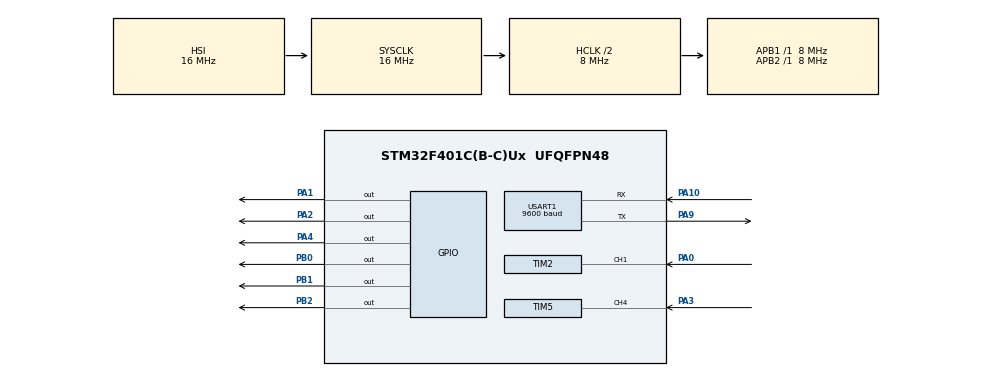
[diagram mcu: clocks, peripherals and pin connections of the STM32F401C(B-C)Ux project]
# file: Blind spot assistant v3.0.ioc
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FREERTOS.Tasks01=trigSonic1_Task,0,128,triggerUltrasonic_1_Handeler,Default,NULL,Dynamic,NULL,NULL;trigSonic2_Task,-3,128,triggerUltrasonic_2_Handeler,Default,NULL,Dynamic,NULL,NULL;LEDS_Task,-3,128,indecateOnLED_Handeler,Default,NULL,Dynamic,NULL,NULL
Mcu.Family=STM32F4
Mcu.Name=STM32F401C(B-C)Ux
Mcu.Package=UFQFPN48
NVIC.PriorityGroup=NVIC_PRIORITYGROUP_4
NVIC.TIM1_UP_TIM10_IRQn=true\:15\:0\:false\:false\:true\:false\:false\:true\:true
NVIC.TIM2_IRQn=true\:5\:0\:false\:false\:true\:true\:true\:true\:true
NVIC.TIM5_IRQn=true\:5\:0\:false\:false\:true\:true\:true\:true\:true
NVIC.TimeBase=TIM1_UP_TIM10_IRQn
NVIC.TimeBaseIP=TIM1
PA0-WKUP.Signal=S_TIM2_CH1_ETR
PA1.Signal=GPIO_Output
PA10.Mode=Asynchronous
PA10.Signal=USART1_RX
PA2.Signal=GPIO_Output
PA3.Signal=S_TIM5_CH4
PA4.Signal=GPIO_Output
PA9.Mode=Asynchronous
PA9.Signal=USART1_TX
PB0.Signal=GPIO_Output
PB1.Signal=GPIO_Output
PB2.Signal=GPIO_Output
ProjectManager.HeapSize=0x200
ProjectManager.StackSize=0x400
ProjectManager.TargetToolchain=STM32CubeIDE
RCC.AHBCLKDivider=RCC_SYSCLK_DIV2
RCC.AHBFreq_Value=8000000
RCC.APB1Freq_Value=8000000
RCC.APB1TimFreq_Value=8000000
RCC.APB2Freq_Value=8000000
RCC.APB2TimFreq_Value=8000000
RCC.CortexFreq_Value=8000000
RCC.HCLKFreq_Value=8000000
RCC.HSE_VALUE=25000000
RCC.HSI_VALUE=16000000
RCC.LSE_VALUE=32768
RCC.SYSCLKFreq_VALUE=16000000
RCC.VCOOutputFreq_Value=192000000
SH.S_TIM2_CH1_ETR.0=TIM2_CH1,Input_Capture1_from_TI1
SH.S_TIM5_CH4.0=TIM5_CH4,Input_Capture4_from_TI4
TIM2.Channel-Input_Capture1_from_TI1=TIM_CHANNEL_1
TIM2.ICPolarity_CH1=TIM_INPUTCHANNELPOLARITY_BOTHEDGE
TIM2.Period=65535
TIM2.Prescaler=15
TIM5.Channel-Input_Capture4_from_TI4=TIM_CHANNEL_4
TIM5.ICPolarity_CH4=TIM_INPUTCHANNELPOLARITY_BOTHEDGE
TIM5.Period=65535
TIM5.Prescaler=15
USART1.BaudRate=9600
USART1.VirtualMode=VM_ASYNC
VP_FREERTOS_VS_CMSIS_V1.Mode=CMSIS_V1
VP_SYS_VS_tim1.Mode=TIM1
VP_TIM2_VS_ClockSourceINT.Mode=Internal
VP_TIM5_VS_ClockSourceINT.Mode=Internal
board=custom

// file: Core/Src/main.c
/* USER CODE BEGIN Header */
/**
 ******************************************************************************
 * @file           : main.c
 * @brief          : Main program body
 ******************************************************************************
 * @attention
 *
 * Copyright (c) 2023 STMicroelectronics.
 * All rights reserved.
 *
 * This software is licensed under terms that can be found in the LICENSE file
 * in the root directory of this software component.
 * If no LICENSE file comes with this software, it is provided AS-IS.
 *
 ******************************************************************************
 */
/* USER CODE END Header */
#include "main.h"
#include "cmsis_os.h"

/* USER CODE BEGIN PM */
#define ULTAR1_FAR			0
#define ULTAR1_NEAR			1
#define ULTAR2_FAR			2
#define ULTAR2_NEAR			3

#define TRIG_PIN_U1      			GPIO_PIN_1
#define TRIG_PIN_U2      			GPIO_PIN_4
#define TRIG_PORT_U1     			GPIOA
#define TRIG_PORT_U2     			GPIOA

#define LED_PIN_U1       			GPIO_PIN_2
#define LED_PIN_U2       			GPIO_PIN_0

#define LED_PORT_U1      			GPIOA
#define LED_PORT_U2      			GPIOB

#define NEAR_OBJECT_THRESHOLD   	20

#define DelayTrigToRead    			50
#define DelayToRepeatTrig			120
#define	DelayBetweenUltraSonics		60

#define	ULTAR_IS_OK					51
#define	ULTAR_IS_NOT_OK				56
uint8_t bsa_diagnose = ULTAR_IS_OK;
/* USER CODE END PM */

TIM_HandleTypeDef htim2;
TIM_HandleTypeDef htim5;

UART_HandleTypeDef huart1;

osThreadId trigSonic1_TaskHandle;
osThreadId trigSonic2_TaskHandle;
osThreadId LEDS_TaskHandle;

void SystemClock_Config(void);
static void MX_GPIO_Init(void);
static void MX_TIM2_Init(void);
static void MX_TIM5_Init(void);
static void MX_USART1_UART_Init(void);
void triggerUltrasonic_1_Handeler(void const * argument);
void triggerUltrasonic_2_Handeler(void const * argument);
void indecateOnLED_Handeler(void const * argument);

/* USER CODE BEGIN PFP */
void EnableUltrasonic_1_TimerInterrutp (void);
void EnableUltrasonic_2_TimerInterrutp (void);

/* USER CODE END PFP */

/* USER CODE BEGIN 0 */

volatile uint16_t distance_u1=0;
volatile uint16_t distance_u2=0;

volatile int flag_timer2=0,t1_timer2,t2_timer2,time_timer2;
volatile int flag_timer5=0,t1_timer5,t2_timer5,time_timer5;

//ISR for timer ICU
void HAL_TIM_IC_CaptureCallback(TIM_HandleTypeDef *htim)
{
	// checking on timer ICU interrupt source if TIM2 or TIM 5
	if (htim->Instance == TIM2)
	{
		// Check if the callback is triggered by the correct timer (TIMx)
		if (htim->Channel == HAL_TIM_ACTIVE_CHANNEL_1)
		{
			if (flag_timer2==0)
			{
				t1_timer2=HAL_TIM_ReadCapturedValue(htim, TIM_CHANNEL_1);

				flag_timer2++;
			}
			else if(flag_timer2==1)
			{
				t2_timer2=HAL_TIM_ReadCapturedValue(htim, TIM_CHANNEL_1);
				if(t2_timer2>t1_timer2)
				{
					time_timer2=t2_timer2-t1_timer2;
				}
				else if(t1_timer2>t2_timer2)
				{
					time_timer2 = ((0xffff-t1_timer2)+t2_timer2)+1;
				}
				distance_u1=(((int)time_timer2*340*100)/((int)2*1000000))+1;

				// Ensure that the distance is within the range (0 to 50 cm)
				if (distance_u1 > 500)
				{
					distance_u1 = 500;
				}
				else if (distance_u1<0)
				{
					distance_u1=0;
				}
				flag_timer2=0;
				HAL_TIM_IC_Stop_IT(&htim2, TIM_CHANNEL_1); //disable timer 2
				HAL_TIM_IC_Start_IT(&htim5, TIM_CHANNEL_4); // enable timer5

			}

		}
	}

	if (htim->Instance == TIM5)
	{
		// Check if the callback is triggered by the correct timer (TIMx)
		if (htim->Channel == HAL_TIM_ACTIVE_CHANNEL_4)
		{
			if (flag_timer5==0)
			{
				t1_timer5=HAL_TIM_ReadCapturedValue(htim, TIM_CHANNEL_4);

				flag_timer5++;
			}
			else if(flag_timer5==1)
			{
				t2_timer5=HAL_TIM_ReadCapturedValue(htim, TIM_CHANNEL_4);
				if(t2_timer5>t1_timer5)
				{
					time_timer5=t2_timer5-t1_timer5;
				}
				else if(t1_timer5>t2_timer5)
				{
					time_timer5 = ((0xffff-t1_timer5)+t2_timer5)+1;
				}
				distance_u2=(((int)time_timer5*340*100)/((int)2*1000000))+1;
				//Ensure distance is within the desired range (0 to 50 cm)
				if (distance_u2 > 500)
				{
					distance_u2 = 500;
				}
				else if (distance_u2<0)
				{
					distance_u2=0;
				}
				flag_timer5=0;
				HAL_TIM_IC_Stop_IT(&htim5, TIM_CHANNEL_4); //disable timer 2
				HAL_TIM_IC_Start_IT(&htim2, TIM_CHANNEL_1); // enable timer5
			}
		}
	}
}

/* USER CODE END 0 */

int main(void)
{

	/* MCU Configuration--------------------------------------------------------*/

	/* Reset of all peripherals, Initializes the Flash interface and the Systick. */
	HAL_Init();

	/* Configure the system clock */
	SystemClock_Config();

	/* Initialize all configured peripherals */
	MX_GPIO_Init();
	MX_TIM2_Init();
	MX_TIM5_Init();
	MX_USART1_UART_Init();
	/* USER CODE BEGIN 2 */
	EnableUltrasonic_1_TimerInterrutp();
	//EnableUltrasonic_2_TimerInterrutp();
	/* USER CODE END 2 */

	/* Create the thread(s) */
	/* definition and creation of trigSonic1_Task */
	osThreadDef(trigSonic1_Task, triggerUltrasonic_1_Handeler, osPriorityNormal, 0, 128);
	trigSonic1_TaskHandle = osThreadCreate(osThread(trigSonic1_Task), NULL);

	/* definition and creation of trigSonic2_Task */
	osThreadDef(trigSonic2_Task, triggerUltrasonic_2_Handeler, osPriorityNormal, 0, 128);
	trigSonic2_TaskHandle = osThreadCreate(osThread(trigSonic2_Task), NULL);

	/* definition and creation of LEDS_Task */
	osThreadDef(LEDS_Task, indecateOnLED_Handeler, osPriorityNormal, 0, 128);
	LEDS_TaskHandle = osThreadCreate(osThread(LEDS_Task), NULL);

	/* Start scheduler */
	osKernelStart();

	/* We should never get here as control is now taken by the scheduler */
	/* Infinite loop */
	while (1)
	{

	}
}

void SystemClock_Config(void)
{
	RCC_OscInitTypeDef RCC_OscInitStruct = {0};
	RCC_ClkInitTypeDef RCC_ClkInitStruct = {0};

	/** Configure the main internal regulator output voltage
	 */
	__HAL_RCC_PWR_CLK_ENABLE();
	__HAL_PWR_VOLTAGESCALING_CONFIG(PWR_REGULATOR_VOLTAGE_SCALE2);

	/** Initializes the RCC Oscillators according to the specified parameters
	 * in the RCC_OscInitTypeDef structure.
	 */
	RCC_OscInitStruct.OscillatorType = RCC_OSCILLATORTYPE_HSI|RCC_OSCILLATORTYPE_LSI;
	RCC_OscInitStruct.HSIState = RCC_HSI_ON;
	RCC_OscInitStruct.HSICalibrationValue = RCC_HSICALIBRATION_DEFAULT;
	RCC_OscInitStruct.LSIState = RCC_LSI_ON;
	RCC_OscInitStruct.PLL.PLLState = RCC_PLL_NONE;
	if (HAL_RCC_OscConfig(&RCC_OscInitStruct) != HAL_OK)
	{
		Error_Handler();
	}

	/** Initializes the CPU, AHB and APB buses clocks
	 */
	RCC_ClkInitStruct.ClockType = RCC_CLOCKTYPE_HCLK|RCC_CLOCKTYPE_SYSCLK
			|RCC_CLOCKTYPE_PCLK1|RCC_CLOCKTYPE_PCLK2;
	RCC_ClkInitStruct.SYSCLKSource = RCC_SYSCLKSOURCE_HSI;
	RCC_ClkInitStruct.AHBCLKDivider = RCC_SYSCLK_DIV2;
	RCC_ClkInitStruct.APB1CLKDivider = RCC_HCLK_DIV1;
	RCC_ClkInitStruct.APB2CLKDivider = RCC_HCLK_DIV1;

	if (HAL_RCC_ClockConfig(&RCC_ClkInitStruct, FLASH_LATENCY_0) != HAL_OK)
	{
		Error_Handler();
	}
}

static void MX_TIM2_Init(void)
{

	TIM_ClockConfigTypeDef sClockSourceConfig = {0};
	TIM_MasterConfigTypeDef sMasterConfig = {0};
	TIM_IC_InitTypeDef sConfigIC = {0};

	htim2.Instance = TIM2;
	htim2.Init.Prescaler = 15;
	htim2.Init.CounterMode = TIM_COUNTERMODE_UP;
	htim2.Init.Period = 65535;
	htim2.Init.ClockDivision = TIM_CLOCKDIVISION_DIV1;
	htim2.Init.AutoReloadPreload = TIM_AUTORELOAD_PRELOAD_DISABLE;
	if (HAL_TIM_Base_Init(&htim2) != HAL_OK)
	{
		Error_Handler();
	}
	sClockSourceConfig.ClockSource = TIM_CLOCKSOURCE_INTERNAL;
	if (HAL_TIM_ConfigClockSource(&htim2, &sClockSourceConfig) != HAL_OK)
	{
		Error_Handler();
	}
	if (HAL_TIM_IC_Init(&htim2) != HAL_OK)
	{
		Error_Handler();
	}
	sMasterConfig.MasterOutputTrigger = TIM_TRGO_RESET;
	sMasterConfig.MasterSlaveMode = TIM_MASTERSLAVEMODE_DISABLE;
	if (HAL_TIMEx_MasterConfigSynchronization(&htim2, &sMasterConfig) != HAL_OK)
	{
		Error_Handler();
	}
	sConfigIC.ICPolarity = TIM_INPUTCHANNELPOLARITY_BOTHEDGE;
	sConfigIC.ICSelection = TIM_ICSELECTION_DIRECTTI;
	sConfigIC.ICPrescaler = TIM_ICPSC_DIV1;
	sConfigIC.ICFilter = 0;
	if (HAL_TIM_IC_ConfigChannel(&htim2, &sConfigIC, TIM_CHANNEL_1) != HAL_OK)
	{
		Error_Handler();
	}

}

static void MX_TIM5_Init(void)
{

	TIM_ClockConfigTypeDef sClockSourceConfig = {0};
	TIM_MasterConfigTypeDef sMasterConfig = {0};
	TIM_IC_InitTypeDef sConfigIC = {0};

	htim5.Instance = TIM5;
	htim5.Init.Prescaler = 15;
	htim5.Init.CounterMode = TIM_COUNTERMODE_UP;
	htim5.Init.Period = 65535;
	htim5.Init.ClockDivision = TIM_CLOCKDIVISION_DIV1;
	htim5.Init.AutoReloadPreload = TIM_AUTORELOAD_PRELOAD_DISABLE;
	if (HAL_TIM_Base_Init(&htim5) != HAL_OK)
	{
		Error_Handler();
	}
	sClockSourceConfig.ClockSource = TIM_CLOCKSOURCE_INTERNAL;
	if (HAL_TIM_ConfigClockSource(&htim5, &sClockSourceConfig) != HAL_OK)
	{
		Error_Handler();
	}
	if (HAL_TIM_IC_Init(&htim5) != HAL_OK)
	{
		Error_Handler();
	}
	sMasterConfig.MasterOutputTrigger = TIM_TRGO_RESET;
	sMasterConfig.MasterSlaveMode = TIM_MASTERSLAVEMODE_DISABLE;
	if (HAL_TIMEx_MasterConfigSynchronization(&htim5, &sMasterConfig) != HAL_OK)
	{
		Error_Handler();
	}
	sConfigIC.ICPolarity = TIM_INPUTCHANNELPOLARITY_BOTHEDGE;
	sConfigIC.ICSelection = TIM_ICSELECTION_DIRECTTI;
	sConfigIC.ICPrescaler = TIM_ICPSC_DIV1;
	sConfigIC.ICFilter = 0;
	if (HAL_TIM_IC_ConfigChannel(&htim5, &sConfigIC, TIM_CHANNEL_4) != HAL_OK)
	{
		Error_Handler();
	}

}

static void MX_USART1_UART_Init(void)
{

	huart1.Instance = USART1;
	huart1.Init.BaudRate = 9600;
	huart1.Init.WordLength = UART_WORDLENGTH_8B;
	huart1.Init.StopBits = UART_STOPBITS_1;
	huart1.Init.Parity = UART_PARITY_NONE;
	huart1.Init.Mode = UART_MODE_TX_RX;
	huart1.Init.HwFlowCtl = UART_HWCONTROL_NONE;
	huart1.Init.OverSampling = UART_OVERSAMPLING_16;
	if (HAL_UART_Init(&huart1) != HAL_OK)
	{
		Error_Handler();
	}

}

static void MX_GPIO_Init(void)
{
	GPIO_InitTypeDef GPIO_InitStruct = {0};

	/* GPIO Ports Clock Enable */
	__HAL_RCC_GPIOA_CLK_ENABLE();
	__HAL_RCC_GPIOB_CLK_ENABLE();

	/*Configure GPIO pin Output Level */
	HAL_GPIO_WritePin(GPIOA, GPIO_PIN_1|GPIO_PIN_2|GPIO_PIN_4, GPIO_PIN_RESET);

	/*Configure GPIO pin Output Level */
	HAL_GPIO_WritePin(GPIOB, GPIO_PIN_0|GPIO_PIN_1|GPIO_PIN_2, GPIO_PIN_RESET);

	/*Configure GPIO pins : PA1 PA2 PA4 */
	GPIO_InitStruct.Pin = GPIO_PIN_1|GPIO_PIN_2|GPIO_PIN_4;
	GPIO_InitStruct.Mode = GPIO_MODE_OUTPUT_PP;
	GPIO_InitStruct.Pull = GPIO_NOPULL;
	GPIO_InitStruct.Speed = GPIO_SPEED_FREQ_LOW;
	HAL_GPIO_Init(GPIOA, &GPIO_InitStruct);

	/*Configure GPIO pins : PB0 PB1 PB2 */
	GPIO_InitStruct.Pin = GPIO_PIN_0|GPIO_PIN_1|GPIO_PIN_2;
	GPIO_InitStruct.Mode = GPIO_MODE_OUTPUT_PP;
	GPIO_InitStruct.Pull = GPIO_NOPULL;
	GPIO_InitStruct.Speed = GPIO_SPEED_FREQ_LOW;
	HAL_GPIO_Init(GPIOB, &GPIO_InitStruct);

}

/* USER CODE BEGIN 4 */

void EnableUltrasonic_1_TimerInterrutp (void)
{
	__enable_irq(); // enable global interrupt
	HAL_TIM_IC_Start_IT(&htim2, TIM_CHANNEL_1); // enable timer2
}
void EnableUltrasonic_2_TimerInterrutp (void)
{
	__enable_irq(); // enable global interrupt
	HAL_TIM_IC_Start_IT(&htim5, TIM_CHANNEL_4); // enable timer5
}

/* USER CODE END 4 */

void triggerUltrasonic_1_Handeler(void const * argument)
{
	/* USER CODE BEGIN 5 */
	/* Infinite loop */
	while(1)
	{
		// Trigger ultrasonic sensor
		//enable trigger for ultrasonic_1
		HAL_GPIO_WritePin(TRIG_PORT_U1, TRIG_PIN_U1,GPIO_PIN_SET);
		for( int i=0;i<80;i++); //delay for 10 us //put no ass operation
		HAL_GPIO_WritePin(TRIG_PORT_U1, TRIG_PIN_U1,GPIO_PIN_RESET);
		vTaskDelay(DelayToRepeatTrig);
	}
	/* USER CODE END 5 */
}

void triggerUltrasonic_2_Handeler(void const * argument)
{
	/* USER CODE BEGIN triggerUltrasonic_2_Handeler */
	vTaskDelay(DelayBetweenUltraSonics+10);
	/* Infinite loop */
	while(1)
	{
		// Trigger ultrasonic sensor
		//enable trigger for ultrasonic_1
		HAL_GPIO_WritePin(TRIG_PORT_U2, TRIG_PIN_U2,GPIO_PIN_SET);
		for( int i=0;i<80;i++); //delay for 10 us //put no ass operation
		HAL_GPIO_WritePin(TRIG_PORT_U2, TRIG_PIN_U2,GPIO_PIN_RESET);
		vTaskDelay(DelayToRepeatTrig);
	}
	/* USER CODE END triggerUltrasonic_2_Handeler */
}

void indecateOnLED_Handeler(void const * argument)
{
	/* USER CODE BEGIN indecateOnLED_Handeler */
	vTaskDelay(DelayTrigToRead); // first delay : time between trigger and getting read
	/* Infinite loop */
	for(;;)
	{
		// Check if an object is near

		// if there is something near ultrasonic1 the led will be on
		if(distance_u1<NEAR_OBJECT_THRESHOLD)
		{
			HAL_GPIO_WritePin(LED_PORT_U1, LED_PIN_U1,GPIO_PIN_SET);
		}
		else
		{
			HAL_GPIO_WritePin(LED_PORT_U1, LED_PIN_U1,GPIO_PIN_RESET);
		}

		// if there is something near ultrasonic2 the led will be on
		if(distance_u2<NEAR_OBJECT_THRESHOLD)
		{
			HAL_GPIO_WritePin(LED_PORT_U2, LED_PIN_U2,GPIO_PIN_SET);

			//senfing distance
			//			uint8_t d1 = distance_u2/10+48;
			//			uint8_t d2 = distance_u2%10+48;
			//			HAL_UART_Transmit(&huart1, &d1, 1, 100);
			//			HAL_UART_Transmit(&huart1, &d2, 1, 100);
			//

		}
		else
		{
			HAL_GPIO_WritePin(LED_PORT_U2, LED_PIN_U2,GPIO_PIN_RESET);
		}
		if (distance_u1 <= 1 || distance_u2 <= 1) {
			 bsa_diagnose = ULTAR_IS_NOT_OK;
		}
		else {
			 bsa_diagnose = ULTAR_IS_OK;
		}

		HAL_UART_Transmit(&huart1, &bsa_diagnose, 1, 10);
		vTaskDelay(DelayToRepeatTrig);// > 60 ms
	}
	/* USER CODE END indecateOnLED_Handeler */
}

void HAL_TIM_PeriodElapsedCallback(TIM_HandleTypeDef *htim)
{
	if (htim->Instance == TIM1) {
		HAL_IncTick();
	}
}

void Error_Handler(void)
{
	__disable_irq();
	while (1)
	{
	}
}
